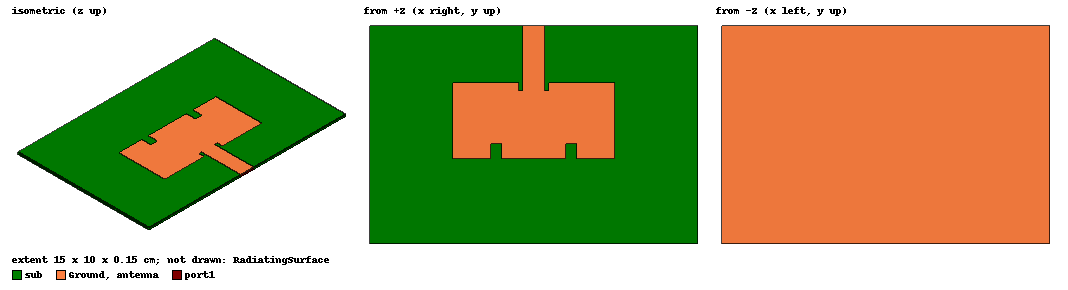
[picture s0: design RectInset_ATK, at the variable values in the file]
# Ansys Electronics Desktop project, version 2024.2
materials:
  vacuum: permittivity=1
  FR4_epoxy: permittivity=4.4 dielectric_loss_tangent=0.02

design RectInset_ATK (HFSS, HFSS Hybrid Terminal Network, model units cm)
options: Allow_Material_Override Save_Adaptive_support_files
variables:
  # --Antenna Dimensions
  # --Substrate Dimensions
  subH = 0.15cm
  subX = 15cm
  subY = 10cm
  # --Feed Dimensions
  a8 = 1cm
  a9 = 3cm
  a4 = 3.5cm
  a5 = 3cm
  a7 = 0.2cm
  a6 = 0.4cm
  a3 = 0.5cm
  a1 = 1.75cm
  a2 = 0.7cm
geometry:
  sub [FR4_epoxy] = box(corner=(0cm, 0cm, 0cm), size=(subX, subY, subH))
  Ground = rectangle(corner=(0, 0, 0cm), x_size=subX, y_size=subY)
  antenna = rectangle(corner=(subX/2-a8/2-a7-a5, subY-a9+a6-a4, subH), x_size=a5+a7+a8+a7+a5, y_size=a4)
  NewObject_U6Z0A4 = rectangle(corner=(subX/2-a8/2-a7, subY-a9, subH), x_size=a7+a8+a7, y_size=a6)
  antenna.subtract(NewObject_U6Z0A4)
  NewObject_X1M6IC = rectangle(corner=(subX/2-a8/2, subY-a9, subH), x_size=a8, y_size=a9)
  antenna.unite(NewObject_X1M6IC)
  port1 = rectangle(corner=(subX/2-a8/2, subY, 0cm), z_size=subH, x_size=a8)
  RadiatingSurface [vacuum] = region(absolute_offset=5cm on all sides)
  Rectangle1 = rectangle(corner=(subX/2-a7-a5-a8/2+a1, subY-a9-a4+a6, subH), x_size=a3, y_size=a2)
  antenna.subtract(Rectangle1)
  Rectangle2 = rectangle(corner=(subX/2+a7+a5+a8/2-a1-a3, subY-a9-a4+a6, subH), x_size=a3, y_size=a2)
  antenna.subtract(Rectangle2)
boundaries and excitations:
  antennaMetal: Perfect E Objects=antenna
  groundMetal: Perfect E Objects=Ground
  Open1: Radiation Objects=RadiatingSurface
  port1_T1: Terminal port=1 Edges=port1.edge(at (7.5, 10, 0)) TerminalResistance=50ohm
  1: Lumped Port Faces=port1.face LumpedPortType=Terminal Impedance=50ohm
  reference conductors: antenna
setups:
  Setup1: HfssDriven Frequency=2GHz MaxDeltaS=0.02 MaximumPasses=6 MinimumPasses=1 MinimumConvergedPasses=1 PercentRefinement=30 BasisOrder=1 PortAccuracy=2 DrivenSolverType="Direct Solver"
    sweep Sweep: 1GHz to 3GHz, 401 points; Type=Discrete SaveFields SaveRadFields
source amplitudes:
  1:1: 1V 0deg
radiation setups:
  3D: Infinite Sphere Theta=0deg..180deg step 2deg Phi=-180deg..180deg step 2deg
  Elevation: Infinite Sphere Theta=-180deg..180deg step 1deg Phi=0deg..90deg step 90deg
  Azimuth: Infinite Sphere Theta=90deg..90deg step 0deg Phi=-180deg..180deg step 1deg
  ATK_2D: Infinite Sphere Theta=-180deg..180deg step 1deg Phi=0deg..90deg step 90deg
  ATK_3D: Infinite Sphere Theta=-180deg..180deg step 2deg Phi=0deg..180deg step 5deg
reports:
  Terminal S Parameter Plot 1: dB(St(port1_T1,port1_T1)) vs Freq on Setup1 : Sweep
  Gain Plot 1: GainTotal vs Phi, Theta on Setup1 : Sweep, 3D [Freq=2GHz a1=1.75cm a2=0.7cm]
